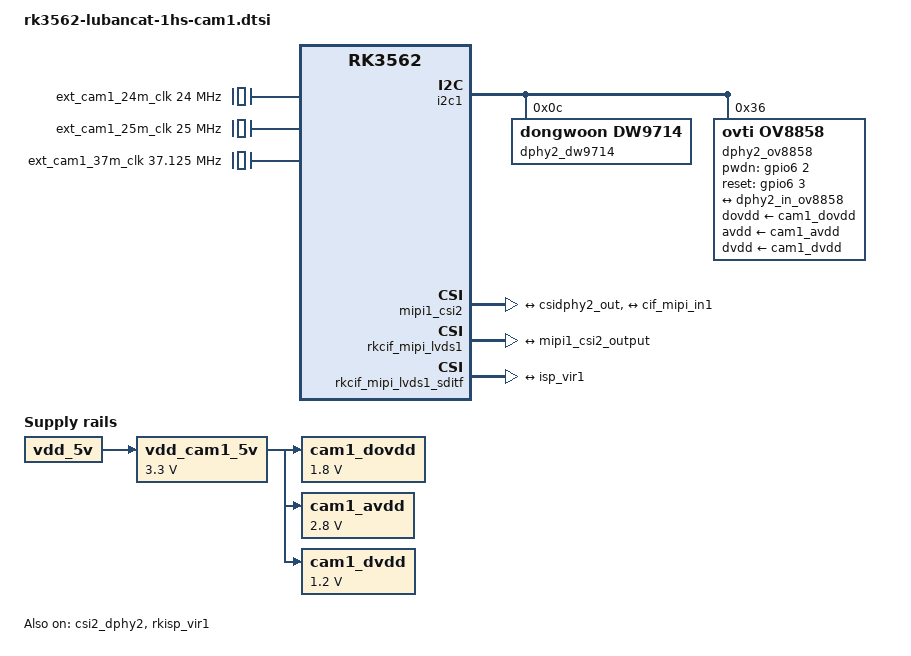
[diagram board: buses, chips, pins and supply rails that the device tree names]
// SPDX-License-Identifier: (GPL-2.0+ OR MIT)
/*
 * Copyright (c) 2024 Rockchip Electronics Co., Ltd.
 *
 */

/ {
	ext_cam1_24m_clk: external-camera-24m-clock {
		compatible = "fixed-clock";
		#clock-cells = <0>;
		clock-frequency = <24000000>;
		clock-output-names = "ext_cam1_24m_clk";
	};

	ext_cam1_25m_clk: external-camera-25m-clock {
		compatible = "fixed-clock";
		clock-frequency = <25000000>;
		clock-output-names = "ext_cam1_25m_clk";
		#clock-cells = <0>;
	};

	ext_cam1_37m_clk: external-camera-37m-clock {
		compatible = "fixed-clock";
		#clock-cells = <0>;
		clock-frequency = <37125000>;
		clock-output-names = "ext_cam1_37m_clk";
	};

	vdd_cam1_5v: vdd-cam-5v-regulator {
		compatible = "regulator-fixed";
		regulator-name = "vdd_cam1_5v";
		regulator-always-on;
		regulator-boot-on;
		regulator-min-microvolt = <3300000>;
		regulator-max-microvolt = <3300000>;
		vin-supply = <&vdd_5v>;
	};

	cam1_dovdd: cam-dovdd {
		compatible = "regulator-fixed";
		regulator-name = "cam1_dovdd";
		regulator-always-on;
		regulator-boot-on;
		regulator-min-microvolt = <1800000>;
		regulator-max-microvolt = <1800000>;
		vin-supply = <&vdd_cam1_5v>;
	};

	cam1_avdd: cam-avdd {
		compatible = "regulator-fixed";
		regulator-name = "cam1_avdd";
		regulator-always-on;
		regulator-boot-on;
		regulator-min-microvolt = <2800000>;
		regulator-max-microvolt = <2800000>;
		vin-supply = <&vdd_cam1_5v>;
	};

	cam1_dvdd: cam-dvdd {
		compatible = "regulator-fixed";
		regulator-name = "cam1_dvdd";
		regulator-always-on;
		regulator-boot-on;
		regulator-min-microvolt = <1200000>;
		regulator-max-microvolt = <1200000>;
		vin-supply = <&vdd_cam1_5v>;
	};
};

&i2c1 {
	status = "okay";
	pinctrl-names = "default";
	pinctrl-0 = <&i2c1m1_xfer>;

	dphy2_dw9714: dw9714@c {
		status = "okay";
		compatible = "dongwoon,dw9714";
		reg = <0xc>;
		rockchip,camera-module-index = <0>;
		rockchip,vcm-max-current = <100>;
		rockchip,vcm-start-current = <0>;
		rockchip,vcm-rated-current = <100>;
		rockchip,vcm-step-mode = <0xd>;
		rockchip,vcm-dlc-enable = <0>;
		rockchip,vcm-mclk = <0>;
		rockchip,vcm-t-src = <0>;
		rockchip,camera-module-facing = "back";
	};

	dphy2_ov5647: ov5647@36 {
		compatible = "ovti,ov5647";
		status = "disabled";
		reg = <0x36>;
		clocks = <&ext_cam1_25m_clk>;
		clock-names = "ext_cam1_25m_clk";
		pwdn-gpios = <&gpio6 2 GPIO_ACTIVE_LOW>;
		lens-focus = <&dphy2_dw9714>;

		port {
			ov5647_dphy2_out: endpoint {
				remote-endpoint = <&dphy2_in_ov5647>;
				data-lanes = <1 2>;
			};
		};
	};

	dphy2_ov5648: ov5648@36 {
		compatible = "ovti,ov5648";
		status = "disabled";
		reg = <0x36>;
		clocks = <&ext_cam1_24m_clk>;
		clock-names = "xvclk";
		dovdd-supply= <&cam1_dovdd>; /* 1.8v */
		avdd-supply = <&cam1_avdd>;  /* 2.8v */
		dvdd-supply = <&cam1_dvdd>;  /* 1.2v */
		pwdn-gpios = <&gpio6 2 GPIO_ACTIVE_HIGH>;
		reset-gpios = <&gpio6 3 GPIO_ACTIVE_LOW>;
		rotation = <180>;

		rockchip,camera-module-index = <0>;
		rockchip,camera-module-facing = "back";
		rockchip,camera-module-name = "THDS11073";
		rockchip,camera-module-lens-name = "Largan-40122a1";
		lens-focus = <&dphy2_dw9714>;

		port {
			/* MIPI CSI-2 bus endpoint */
			ov5648_dphy2_out: endpoint {
				remote-endpoint = <&dphy2_in_ov5648>;
				clock-lanes = <0>;
				data-lanes = <1 2>;
			};
		};
	};

	dphy2_ov8858: ov8858@36 {
		compatible = "ovti,ov8858";
		status = "okay";
		reg = <0x36>;
		clocks = <&ext_cam1_24m_clk>;
		clock-names = "xvclk";
		dovdd-supply= <&cam1_dovdd>; /* 1.8v */
		avdd-supply = <&cam1_avdd>;  /* 2.8v */
		dvdd-supply = <&cam1_dvdd>;  /* 1.2v */
		pwdn-gpios = <&gpio6 2 GPIO_ACTIVE_HIGH>;
		reset-gpios = <&gpio6 3 GPIO_ACTIVE_HIGH>;
		rotation = <180>;

		rockchip,camera-module-index = <0>;
		rockchip,camera-module-facing = "back";
		rockchip,camera-module-name = "HS5885-BNSM1018-V01";
		rockchip,camera-module-lens-name = "default";
		lens-focus = <&dphy2_dw9714>;

		port {
			/* MIPI CSI-2 bus endpoint */
			ov8858_dphy2_out: endpoint {
				remote-endpoint = <&dphy2_in_ov8858>;
				clock-lanes = <0>;
				data-lanes = <1 2>;
			};
		};
	};

	dphy2_ov13850: ov13850@10 {
		compatible = "ovti,ov13850";
		status = "disabled";
		reg = <0x10>;
		clocks = <&ext_cam1_24m_clk>;
		clock-names = "xvclk";
		dovdd-supply= <&cam1_dovdd>; /* 1.8v */
		avdd-supply = <&cam1_avdd>;  /* 2.8v */
		dvdd-supply = <&cam1_dvdd>;  /* 1.2v */
		pwdn-gpios = <&gpio6 2 GPIO_ACTIVE_HIGH>;
		reset-gpios = <&gpio6 3 GPIO_ACTIVE_HIGH>;
		rotation = <180>;

		rockchip,camera-module-index = <2>;
		rockchip,camera-module-facing = "back";
		rockchip,camera-module-name = "ZC-OV13850R2A-V1";
		rockchip,camera-module-lens-name = "Largan-50064B31";
		lens-focus = <&dphy2_dw9714>;

		port {
			/* MIPI CSI-2 bus endpoint */
			ov13850_dphy2_out: endpoint {
				remote-endpoint = <&dphy2_in_ov13850>;
				clock-lanes = <0>;
				data-lanes = <1 2>;
			};
		};
	};

	dphy2_imx415: imx415@1a {
		compatible = "sony,imx415";
		status = "disabled";
		reg = <0x1a>;
		clocks = <&ext_cam1_37m_clk>;
		clock-names = "xvclk";
		dovdd-supply = <&cam1_dovdd>;
		avdd-supply = <&cam1_avdd>;
		dvdd-supply = <&cam1_dvdd>;
		pwdn-gpios = <&gpio6 2 GPIO_ACTIVE_HIGH>;
		reset-gpios = <&gpio6 3 GPIO_ACTIVE_LOW>;

		rockchip,camera-module-index = <0>;
		rockchip,camera-module-facing = "back";
		rockchip,camera-module-name = "CMK-OT2022-PX1";
		rockchip,camera-module-lens-name = "IR0147-50IRC-8M-F20";
		// NO_HDR:0 HDR_X2:5 HDR_X3:6
		// rockchip,camera-hdr-mode = <0>;
		port {
			imx415_dphy2_out: endpoint {
				remote-endpoint = <&dphy2_in_imx415>;
				data-lanes = <1 2>;
			};
		};
	};
};

/* Link path: sensor->csi2_dphy2->mipi1_csi2->rkcif_mipi_lvds1--->rkcif_mipi_lvds1_sditf->rkisp_vir1 */
&csi2_dphy2 {
	status = "okay";

	ports {
		#address-cells = <1>;
		#size-cells = <0>;
		port@0 {
			reg = <0>;
			#address-cells = <1>;
			#size-cells = <0>;

			dphy2_in_ov5647: endpoint@1 {
				reg = <1>;
				remote-endpoint = <&ov5647_dphy2_out>;
				data-lanes = <1 2>;
			};

			dphy2_in_ov5648: endpoint@2 {
				reg = <2>;
				remote-endpoint = <&ov5648_dphy2_out>;
				data-lanes = <1 2>;
			};

			dphy2_in_ov8858: endpoint@3 {
				reg = <3>;
				remote-endpoint = <&ov8858_dphy2_out>;
				data-lanes = <1 2>;
			};

			dphy2_in_ov13850: endpoint@4 {
				reg = <4>;
				remote-endpoint = <&ov13850_dphy2_out>;
				data-lanes = <1 2>;
			};

			dphy2_in_imx415: endpoint@5 {
				reg = <5>;
				remote-endpoint = <&imx415_dphy2_out>;
				data-lanes = <1 2>;
			};
		};

		port@1 {
			reg = <1>;
			#address-cells = <1>;
			#size-cells = <0>;

			csidphy2_out: endpoint@0 {
				reg = <0>;
				remote-endpoint = <&mipi1_csi2_input>;
			};
		};
	};
};

&mipi1_csi2 {
	status = "okay";

	ports {
		#address-cells = <1>;
		#size-cells = <0>;

		port@0 {
			reg = <0>;
			#address-cells = <1>;
			#size-cells = <0>;

			mipi1_csi2_input: endpoint@1 {
				reg = <1>;
				remote-endpoint = <&csidphy2_out>;
			};
		};

		port@1 {
			reg = <1>;
			#address-cells = <1>;
			#size-cells = <0>;

			mipi1_csi2_output: endpoint@0 {
				reg = <0>;
				remote-endpoint = <&cif_mipi_in1>;
			};
		};
	};
};


&rkcif_mipi_lvds1 {
	status = "okay";

	port {
		cif_mipi_in1: endpoint {
			remote-endpoint = <&mipi1_csi2_output>;
		};
	};
};

&rkcif_mipi_lvds1_sditf {
	status = "okay";

	port {
		mipi_lvds1_sditf: endpoint {
			remote-endpoint = <&isp_vir1>;
		};
	};
};

&rkisp_vir1 {
	status = "okay";

	port {
		#address-cells = <1>;
		#size-cells = <0>;

		isp_vir1: endpoint@0 {
			reg = <0>;
			remote-endpoint = <&mipi_lvds1_sditf>;
		};
	};
};
